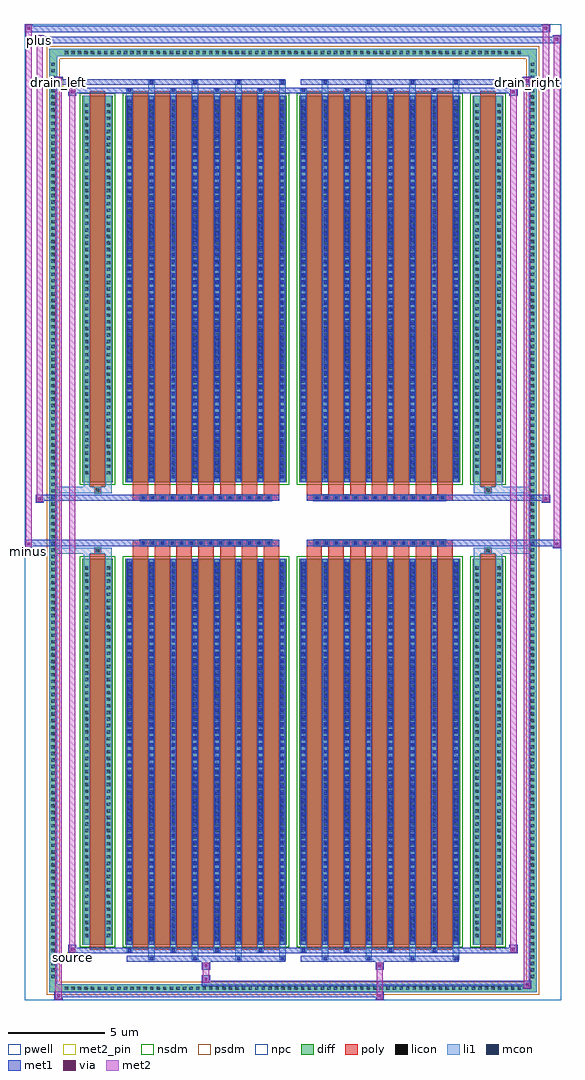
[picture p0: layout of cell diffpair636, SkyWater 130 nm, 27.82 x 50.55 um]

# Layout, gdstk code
import gdstk
lib = gdstk.Library(unit=1e-6, precision=5e-09)
def R(c, l, rs):  # rectangles x0, y0, x1, y1
    for r in rs: c.add(gdstk.rectangle(r[:2], r[2:], *l))
def A(c, l, x, y, w, h, nx, ny, dx, dy):  # array of equal rectangles
    R(c, l, [(x+i*dx, y+j*dy, x+i*dx+w, y+j*dy+h) for i in range(nx) for j in range(ny)])
def P(c, l, *ps):  # polygons
    for p in ps: c.add(gdstk.Polygon(p, *l))
pwell = (64, 44)
diff = (65, 20)
poly = (66, 20)
licon = (66, 44)
li1 = (67, 20)
mcon = (67, 44)
met1 = (68, 20)
via = (68, 44)
met2_pin = (69, 16)
met2 = (69, 20)
nsdm = (93, 44)
psdm = (94, 20)
npc = (95, 20)

diffpair636 = lib.new_cell('diffpair636')
R(diffpair636, pwell, [(-13.89,-24.84,13.89,25.71), (-11.21,-23.03,-0.01,-0.805), (0.01,-23.03,11.21,-0.805), (-11.21,0.805,-0.01,23.03), (0.01,0.805,11.21,23.03)])
A(diffpair636, diff, -11.935, -24.44, 0.41, 0.41, 70, 2, 0.34, 48.47)
A(diffpair636, diff, -12.62, -23.835, 0.41, 0.41, 1, 140, 0, 0.34)
A(diffpair636, diff, 12.21, -23.835, 0.41, 0.41, 1, 140, 0, 0.34)
R(diffpair636, diff, [(-11.935,-24.44,11.935,-24.03), (-12.62,-23.835,-12.21,23.835), (12.21,-23.835,12.62,23.835), (-10.9,-21.985,-9.32,-1.985), (-8.68,-21.985,-0.32,-1.985), (0.32,-21.985,8.68,-1.985), (9.32,-21.985,10.9,-1.985), (-10.9,1.985,-9.32,21.985), (-8.68,1.985,-0.32,21.985), (0.32,1.985,8.68,21.985), (9.32,1.985,10.9,21.985), (-11.935,24.03,11.935,24.44)])
P(diffpair636, diff, [(12.62,24.44),(-12.62,24.44),(-12.62,-24.03),(-12.21,-24.03),(-12.21,24.03),(12.21,24.03),(12.21,-24.03),(-12.21,-24.03),(-12.62,-24.03),(-12.62,-24.44),(12.62,-24.44)])
A(diffpair636, poly, -8.29, -22.235, 0.8, 20.5, 7, 2, 1.13, 23.97)
A(diffpair636, poly, 0.71, -22.235, 0.8, 20.5, 7, 2, 1.13, 23.97)
A(diffpair636, poly, -8.29, -1.735, 0.8, 0.4, 7, 2, 1.13, 3.07)
A(diffpair636, poly, 0.71, -1.735, 0.8, 0.4, 7, 2, 1.13, 3.07)
A(diffpair636, poly, -7.915, -1.335, 0.33, 0.33, 14, 2, 0.5, 2.34)
A(diffpair636, poly, 1.085, -1.335, 0.33, 0.33, 14, 2, 0.5, 2.34)
R(diffpair636, poly, [(-10.51,-22.235,-9.71,-1.735), (9.71,-22.235,10.51,-1.735), (-10.275,-1.735,-9.945,-1.405), (-10.275,-1.735,-9.945,-1.405), (9.945,-1.735,10.275,-1.405), (9.945,-1.735,10.275,-1.405), (-8.29,-1.335,-0.71,-1.005), (0.71,-1.335,8.29,-1.005), (-8.29,1.005,-0.71,1.335), (0.71,1.005,8.29,1.335), (-10.275,1.405,-9.945,1.735), (-10.275,1.405,-9.945,1.735), (9.945,1.405,10.275,1.735), (9.945,1.405,10.275,1.735), (-10.51,1.735,-9.71,22.235), (9.71,1.735,10.51,22.235)])
A(diffpair636, licon, -11.815, -24.32, 0.17, 0.17, 70, 2, 0.34, 48.47)
A(diffpair636, licon, -12.5, -23.715, 0.17, 0.17, 1, 140, 0, 0.34)
A(diffpair636, licon, 12.33, -23.715, 0.17, 0.17, 1, 140, 0, 0.34)
A(diffpair636, licon, -10.76, -21.59, 0.17, 0.17, 1, 57, 0, 0.34)
A(diffpair636, licon, -9.63, -21.59, 0.17, 0.17, 1, 57, 0, 0.34)
A(diffpair636, licon, -8.54, -21.59, 0.17, 0.17, 8, 57, 1.13, 0.34)
A(diffpair636, licon, 0.46, -21.59, 0.17, 0.17, 8, 57, 1.13, 0.34)
A(diffpair636, licon, 9.46, -21.59, 0.17, 0.17, 1, 57, 0, 0.34)
A(diffpair636, licon, 10.59, -21.59, 0.17, 0.17, 1, 57, 0, 0.34)
A(diffpair636, licon, -7.835, -1.255, 0.17, 0.17, 14, 2, 0.5, 2.34)
A(diffpair636, licon, 1.165, -1.255, 0.17, 0.17, 14, 2, 0.5, 2.34)
A(diffpair636, licon, -10.76, 2.38, 0.17, 0.17, 1, 57, 0, 0.34)
A(diffpair636, licon, -9.63, 2.38, 0.17, 0.17, 1, 57, 0, 0.34)
A(diffpair636, licon, -8.54, 2.38, 0.17, 0.17, 8, 57, 1.13, 0.34)
A(diffpair636, licon, 0.46, 2.38, 0.17, 0.17, 8, 57, 1.13, 0.34)
A(diffpair636, licon, 9.46, 2.38, 0.17, 0.17, 1, 57, 0, 0.34)
A(diffpair636, licon, 10.59, 2.38, 0.17, 0.17, 1, 57, 0, 0.34)
R(diffpair636, licon, [(-10.195,-1.655,-10.025,-1.485), (10.025,-1.655,10.195,-1.485), (-10.195,1.485,-10.025,1.655), (10.025,1.485,10.195,1.655)])
A(diffpair636, li1, -11.895, -24.4, 0.33, 0.33, 70, 2, 0.34, 48.47)
A(diffpair636, li1, -12.58, -23.795, 0.33, 0.33, 1, 140, 0, 0.34)
A(diffpair636, li1, 12.25, -23.795, 0.33, 0.33, 1, 140, 0, 0.34)
A(diffpair636, li1, -7.49, -22.79, 0.33, 0.805, 4, 2, 2.26, 44.775)
A(diffpair636, li1, -7.41, -22.79, 0.17, 0.17, 4, 2, 2.26, 45.41)
A(diffpair636, li1, 1.51, -22.79, 0.33, 0.805, 4, 2, 2.26, 44.775)
A(diffpair636, li1, 1.59, -22.79, 0.17, 0.17, 4, 2, 2.26, 45.41)
A(diffpair636, li1, -8.62, -22.36, 0.33, 0.375, 4, 2, 2.26, 44.345)
A(diffpair636, li1, -8.54, -22.36, 0.17, 0.17, 4, 2, 2.26, 44.55)
A(diffpair636, li1, 0.38, -22.36, 0.33, 0.375, 4, 2, 2.26, 44.345)
A(diffpair636, li1, 0.46, -22.36, 0.17, 0.17, 4, 2, 2.26, 44.55)
A(diffpair636, li1, -8.62, -21.985, 0.33, 20, 8, 2, 1.13, 23.97)
A(diffpair636, li1, 0.38, -21.985, 0.33, 20, 8, 2, 1.13, 23.97)
A(diffpair636, li1, -8.54, -21.79, 0.17, 0.17, 8, 55, 1.13, 0.36)
A(diffpair636, li1, -8.54, -21.79, 0.17, 19.61, 8, 2, 1.13, 23.97)
A(diffpair636, li1, 0.46, -21.79, 0.17, 0.17, 8, 55, 1.13, 0.36)
A(diffpair636, li1, 0.46, -21.79, 0.17, 19.61, 8, 2, 1.13, 23.97)
A(diffpair636, li1, -10.84, -21.67, 0.33, 0.33, 1, 57, 0, 0.34)
A(diffpair636, li1, -9.71, -21.67, 0.33, 0.33, 1, 57, 0, 0.34)
A(diffpair636, li1, -8.62, -21.67, 0.33, 0.33, 8, 57, 1.13, 0.34)
A(diffpair636, li1, 0.38, -21.67, 0.33, 0.33, 8, 57, 1.13, 0.34)
A(diffpair636, li1, 9.38, -21.67, 0.33, 0.33, 1, 57, 0, 0.34)
A(diffpair636, li1, 10.51, -21.67, 0.33, 0.33, 1, 57, 0, 0.34)
A(diffpair636, li1, -7.915, -1.335, 0.33, 0.33, 14, 2, 0.5, 2.34)
A(diffpair636, li1, 1.085, -1.335, 0.33, 0.33, 14, 2, 0.5, 2.34)
A(diffpair636, li1, -8.54, 2.18, 0.17, 0.17, 8, 55, 1.13, 0.36)
A(diffpair636, li1, 0.46, 2.18, 0.17, 0.17, 8, 55, 1.13, 0.36)
A(diffpair636, li1, -10.84, 2.3, 0.33, 0.33, 1, 57, 0, 0.34)
A(diffpair636, li1, -9.71, 2.3, 0.33, 0.33, 1, 57, 0, 0.34)
A(diffpair636, li1, -8.62, 2.3, 0.33, 0.33, 8, 57, 1.13, 0.34)
A(diffpair636, li1, 0.38, 2.3, 0.33, 0.33, 8, 57, 1.13, 0.34)
A(diffpair636, li1, 9.38, 2.3, 0.33, 0.33, 1, 57, 0, 0.34)
A(diffpair636, li1, 10.51, 2.3, 0.33, 0.33, 1, 57, 0, 0.34)
R(diffpair636, li1, [(-12.62,-24.44,-12.21,-24.03), (-12.62,-24.44,-12.21,-24.03), (-12.21,-24.44,12.21,-24.03), (12.21,-24.44,12.62,-24.03), (12.21,-24.44,12.62,-24.03), (-12.62,-24.03,-12.21,24.03), (12.21,-24.03,12.62,24.03), (-10.84,-21.985,-10.51,-1.985), (-9.71,-21.985,-9.38,-1.985), (9.38,-21.985,9.71,-1.985), (10.51,-21.985,10.84,-1.985), (-10.84,-1.985,-10.51,-1.405), (-9.71,-1.985,-9.38,-1.405), (9.38,-1.985,9.71,-1.405), (10.51,-1.985,10.84,-1.405), (-12.62,-1.735,-10.275,-1.405), (-10.84,-1.735,-10.275,-1.405), (-10.275,-1.735,-9.945,-1.405), (-9.945,-1.735,-9.38,-1.405), (9.38,-1.735,9.945,-1.405), (9.945,-1.735,10.275,-1.405), (9.945,-1.735,12.62,-1.405), (10.275,-1.735,10.84,-1.405), (-12.62,1.405,-10.275,1.735), (-10.84,1.405,-10.275,1.735), (-10.84,1.405,-10.51,1.985), (-10.275,1.405,-9.945,1.735), (-9.945,1.405,-9.38,1.735), (-9.71,1.405,-9.38,1.985), (9.38,1.405,9.945,1.735), (9.38,1.405,9.71,1.985), (9.945,1.405,10.275,1.735), (9.945,1.405,12.62,1.735), (10.275,1.405,10.84,1.735), (10.51,1.405,10.84,1.985), (-10.84,1.985,-10.51,21.985), (-9.71,1.985,-9.38,21.985), (9.38,1.985,9.71,21.985), (10.51,1.985,10.84,21.985), (-12.62,24.03,-12.21,24.44), (-12.62,24.03,-12.21,24.44), (-12.21,24.03,12.21,24.44), (12.21,24.03,12.62,24.44), (12.21,24.03,12.62,24.44)])
A(diffpair636, mcon, -7.41, -22.79, 0.17, 0.17, 4, 2, 2.26, 45.41)
A(diffpair636, mcon, 1.59, -22.79, 0.17, 0.17, 4, 2, 2.26, 45.41)
A(diffpair636, mcon, -8.54, -22.36, 0.17, 0.17, 4, 2, 2.26, 44.55)
A(diffpair636, mcon, 0.46, -22.36, 0.17, 0.17, 4, 2, 2.26, 44.55)
A(diffpair636, mcon, -8.54, -21.79, 0.17, 0.17, 8, 55, 1.13, 0.36)
A(diffpair636, mcon, 0.46, -21.79, 0.17, 0.17, 8, 55, 1.13, 0.36)
A(diffpair636, mcon, -7.835, -1.255, 0.17, 0.17, 14, 2, 0.5, 2.34)
A(diffpair636, mcon, 1.165, -1.255, 0.17, 0.17, 14, 2, 0.5, 2.34)
A(diffpair636, mcon, -8.54, 2.18, 0.17, 0.17, 8, 55, 1.13, 0.36)
A(diffpair636, mcon, 0.46, 2.18, 0.17, 0.17, 8, 55, 1.13, 0.36)
A(diffpair636, met1, -7.47, -22.85, 0.29, 0.29, 4, 2, 2.26, 45.41)
A(diffpair636, met1, 1.53, -22.85, 0.29, 0.29, 4, 2, 2.26, 45.41)
A(diffpair636, met1, -8.6, -22.42, 0.29, 0.29, 4, 2, 2.26, 44.55)
A(diffpair636, met1, 0.4, -22.42, 0.29, 0.29, 4, 2, 2.26, 44.55)
A(diffpair636, met1, -8.6, -21.985, 0.29, 20, 8, 2, 1.13, 23.97)
A(diffpair636, met1, 0.4, -21.985, 0.29, 20, 8, 2, 1.13, 23.97)
A(diffpair636, met1, -8.6, -21.85, 0.29, 0.29, 8, 55, 1.13, 0.36)
A(diffpair636, met1, 0.4, -21.85, 0.29, 0.29, 8, 55, 1.13, 0.36)
A(diffpair636, met1, -7.895, -1.315, 0.29, 0.29, 14, 2, 0.5, 2.34)
A(diffpair636, met1, 1.105, -1.315, 0.29, 0.29, 14, 2, 0.5, 2.34)
A(diffpair636, met1, -8.6, 2.12, 0.29, 0.29, 8, 55, 1.13, 0.36)
A(diffpair636, met1, 0.4, 2.12, 0.29, 0.29, 8, 55, 1.13, 0.36)
R(diffpair636, met1, [(-12.35,-24.84,-11.92,-24.41), (4.285,-24.84,4.715,-24.41), (-12.35,-24.7,4.715,-24.41), (11.92,-24.27,12.35,-23.84), (-4.715,-24.13,12.35,-23.84), (-4.715,-23.99,-4.285,-23.56), (-4.715,-23.28,-4.285,-22.85), (4.285,-23.28,4.715,-22.85), (-8.6,-22.85,-0.4,-22.56), (0.4,-22.85,8.6,-22.56), (-11.64,-22.42,-11.21,-21.99), (-11.64,-22.42,-8.6,-22.13), (-8.6,-22.42,-0.4,-22.13), (-0.4,-22.42,0.4,-22.13), (0.4,-22.42,8.6,-22.13), (8.6,-22.42,11.64,-22.13), (11.21,-22.42,11.64,-21.99), (-13.89,-1.435,-13.46,-1.005), (13.46,-1.435,13.89,-1.005), (-13.89,-1.335,-0.71,-1.005), (-8.29,-1.335,-0.71,-1.005), (0.71,-1.335,8.29,-1.005), (0.71,-1.335,13.89,-1.005), (-13.32,0.905,-12.89,1.335), (12.89,0.905,13.32,1.335), (-13.32,1.005,-8.29,1.335), (-8.29,1.005,-0.71,1.335), (0.71,1.005,8.29,1.335), (8.29,1.005,13.32,1.335), (-11.64,21.99,-11.21,22.42), (11.21,21.99,11.64,22.42), (-11.64,22.13,-8.6,22.42), (-8.6,22.13,-0.4,22.42), (-0.4,22.13,0.4,22.42), (0.4,22.13,8.6,22.42), (8.6,22.13,11.64,22.42), (-12.35,22.56,-11.92,22.99), (-12.35,22.56,-8.6,22.85), (-8.6,22.56,-0.4,22.85), (0.4,22.56,8.6,22.85), (8.6,22.56,12.35,22.85), (11.92,22.56,12.35,22.99), (-13.32,24.71,-12.89,25.14), (-13.32,24.71,-11.21,25.04), (-11.21,24.71,11.21,25.04), (11.21,24.71,13.89,25.04), (13.46,24.71,13.89,25.14), (-13.89,25.28,-13.46,25.71), (-13.89,25.28,-11.21,25.61), (-11.21,25.28,11.21,25.61), (11.21,25.28,13.32,25.61), (12.89,25.28,13.32,25.71)])
R(diffpair636, via, [(-12.21,-24.7,-12.06,-24.55), (4.425,-24.7,4.575,-24.55), (12.06,-24.13,12.21,-23.98), (-4.575,-23.85,-4.425,-23.7), (-4.575,-23.14,-4.425,-22.99), (4.425,-23.14,4.575,-22.99), (-11.5,-22.28,-11.35,-22.13), (11.35,-22.28,11.5,-22.13), (-13.75,-1.295,-13.6,-1.145), (13.6,-1.295,13.75,-1.145), (-13.18,1.045,-13.03,1.195), (13.03,1.045,13.18,1.195), (-11.5,22.13,-11.35,22.28), (11.35,22.13,11.5,22.28), (-12.21,22.7,-12.06,22.85), (12.06,22.7,12.21,22.85), (-13.18,24.85,-13.03,25), (13.6,24.85,13.75,25), (-13.75,25.42,-13.6,25.57), (13.03,25.42,13.18,25.57)])
R(diffpair636, met2_pin, [(-11.675,-22.87,-11.175,-22.37), (-13.925,-1.885,-13.425,-1.385), (-12.385,22.44,-11.885,22.94), (11.885,22.44,12.385,22.94), (-13.355,24.59,-12.855,25.09)])
R(diffpair636, met2, [(-12.3,-24.79,-11.97,-24.46), (-12.3,-24.79,-11.97,22.94), (4.335,-24.79,4.665,-24.46), (4.335,-24.46,4.665,-23.23), (11.97,-24.22,12.3,-23.89), (11.97,-24.22,12.3,22.94), (-4.665,-23.94,-4.335,-23.61), (-4.665,-23.61,-4.335,-23.23), (-4.665,-23.23,-4.335,-22.9), (4.335,-23.23,4.665,-22.9), (-11.59,-22.37,-11.26,-22.04), (-11.59,-22.37,-11.26,22.37), (11.26,-22.37,11.59,-22.04), (11.26,-22.37,11.59,22.37), (-13.84,-1.385,-13.51,-1.055), (-13.84,-1.385,-13.51,25.66), (13.51,-1.385,13.84,-1.055), (13.51,-1.385,13.84,25.09), (-13.27,0.955,-12.94,1.285), (-13.27,0.955,-12.94,25.09), (12.94,0.955,13.27,1.285), (12.94,0.955,13.27,25.66), (-11.59,22.04,-11.26,22.37), (11.26,22.04,11.59,22.37), (-12.3,22.61,-11.97,22.94), (11.97,22.61,12.3,22.94), (-13.27,24.76,-12.94,25.09), (13.51,24.76,13.84,25.09), (-13.84,25.33,-13.51,25.66), (12.94,25.33,13.27,25.66)])
P(diffpair636, met2, [(13.84,-1.385),(13.84,-1.385),(13.84,-1.055),(13.84,-1.055)],
  [(13.84,24.76),(13.84,24.76),(13.84,25.09),(13.84,25.09)],
  [(-13.51,-1.385),(-13.51,-1.385),(-13.51,-1.055),(-13.51,-1.055)],
  [(-13.51,25.33),(-13.51,25.33),(-13.51,25.66),(-13.51,25.66)],
  [(13.27,0.955),(13.27,0.955),(13.27,1.285),(13.27,1.285)],
  [(13.27,25.33),(13.27,25.33),(13.27,25.66),(13.27,25.66)],
  [(-12.94,0.955),(-12.94,0.955),(-12.94,1.285),(-12.94,1.285)],
  [(-12.94,24.76),(-12.94,24.76),(-12.94,25.09),(-12.94,25.09)],
  [(-11.97,-24.79),(-11.97,-24.79),(-11.97,-24.46),(-11.97,-24.46)],
  [(-11.97,22.61),(-11.97,22.61),(-11.97,22.94),(-11.97,22.94)],
  [(12.3,-24.22),(12.3,-24.22),(12.3,-23.89),(12.3,-23.89)],
  [(12.3,22.61),(12.3,22.61),(12.3,22.94),(12.3,22.94)],
  [(-11.26,-22.37),(-11.26,-22.37),(-11.26,-22.04),(-11.26,-22.04)],
  [(-11.26,22.04),(-11.26,22.04),(-11.26,22.37),(-11.26,22.37)],
  [(11.59,-22.37),(11.59,-22.37),(11.59,-22.04),(11.59,-22.04)],
  [(11.59,22.04),(11.59,22.04),(11.59,22.37),(11.59,22.37)])
R(diffpair636, nsdm, [(-11.03,-22.115,-9.19,-1.855), (-8.81,-22.115,-0.19,-1.855), (0.19,-22.115,8.81,-1.855), (9.19,-22.115,11.03,-1.855), (-11.03,1.855,-9.19,22.115), (-8.81,1.855,-0.19,22.115), (0.19,1.855,8.81,22.115), (9.19,1.855,11.03,22.115)])
P(diffpair636, psdm, [(12.75,24.57),(-12.75,24.57),(-12.75,-23.9),(-12.08,-23.9),(-12.08,23.9),(12.08,23.9),(12.08,-23.9),(-12.08,-23.9),(-12.75,-23.9),(-12.75,-24.57),(12.75,-24.57)])
A(diffpair636, npc, -7.935, -1.355, 0.37, 0.37, 14, 2, 0.5, 2.34)
A(diffpair636, npc, 1.065, -1.355, 0.37, 0.37, 14, 2, 0.5, 2.34)
R(diffpair636, npc, [(-10.295,-1.755,-9.925,-1.385), (9.925,-1.755,10.295,-1.385), (-7.935,-1.355,-7.065,-0.985), (-7.935,-1.355,-7.065,-0.985), (-7.435,-1.355,-6.565,-0.985), (-7.435,-1.355,-6.565,-0.985), (-6.935,-1.355,-6.065,-0.985), (-6.935,-1.355,-6.065,-0.985), (-6.435,-1.355,-5.565,-0.985), (-6.435,-1.355,-5.565,-0.985), (-5.935,-1.355,-5.065,-0.985), (-5.935,-1.355,-5.065,-0.985), (-5.435,-1.355,-4.565,-0.985), (-5.435,-1.355,-4.565,-0.985), (-4.935,-1.355,-4.065,-0.985), (-4.935,-1.355,-4.065,-0.985), (-4.435,-1.355,-3.565,-0.985), (-4.435,-1.355,-3.565,-0.985), (-3.935,-1.355,-3.065,-0.985), (-3.935,-1.355,-3.065,-0.985), (-3.435,-1.355,-2.565,-0.985), (-3.435,-1.355,-2.565,-0.985), (-2.935,-1.355,-2.065,-0.985), (-2.935,-1.355,-2.065,-0.985), (-2.435,-1.355,-1.565,-0.985), (-2.435,-1.355,-1.565,-0.985), (-1.935,-1.355,-1.065,-0.985), (-1.935,-1.355,-1.065,-0.985), (1.065,-1.355,1.935,-0.985), (1.065,-1.355,1.935,-0.985), (1.565,-1.355,2.435,-0.985), (1.565,-1.355,2.435,-0.985), (2.065,-1.355,2.935,-0.985), (2.065,-1.355,2.935,-0.985), (2.565,-1.355,3.435,-0.985), (2.565,-1.355,3.435,-0.985), (3.065,-1.355,3.935,-0.985), (3.065,-1.355,3.935,-0.985), (3.565,-1.355,4.435,-0.985), (3.565,-1.355,4.435,-0.985), (4.065,-1.355,4.935,-0.985), (4.065,-1.355,4.935,-0.985), (4.565,-1.355,5.435,-0.985), (4.565,-1.355,5.435,-0.985), (5.065,-1.355,5.935,-0.985), (5.065,-1.355,5.935,-0.985), (5.565,-1.355,6.435,-0.985), (5.565,-1.355,6.435,-0.985), (6.065,-1.355,6.935,-0.985), (6.065,-1.355,6.935,-0.985), (6.565,-1.355,7.435,-0.985), (6.565,-1.355,7.435,-0.985), (7.065,-1.355,7.935,-0.985), (7.065,-1.355,7.935,-0.985), (-7.935,0.985,-7.065,1.355), (-7.935,0.985,-7.065,1.355), (-7.435,0.985,-6.565,1.355), (-7.435,0.985,-6.565,1.355), (-6.935,0.985,-6.065,1.355), (-6.935,0.985,-6.065,1.355), (-6.435,0.985,-5.565,1.355), (-6.435,0.985,-5.565,1.355), (-5.935,0.985,-5.065,1.355), (-5.935,0.985,-5.065,1.355), (-5.435,0.985,-4.565,1.355), (-5.435,0.985,-4.565,1.355), (-4.935,0.985,-4.065,1.355), (-4.935,0.985,-4.065,1.355), (-4.435,0.985,-3.565,1.355), (-4.435,0.985,-3.565,1.355), (-3.935,0.985,-3.065,1.355), (-3.935,0.985,-3.065,1.355), (-3.435,0.985,-2.565,1.355), (-3.435,0.985,-2.565,1.355), (-2.935,0.985,-2.065,1.355), (-2.935,0.985,-2.065,1.355), (-2.435,0.985,-1.565,1.355), (-2.435,0.985,-1.565,1.355), (-1.935,0.985,-1.065,1.355), (-1.935,0.985,-1.065,1.355), (1.065,0.985,1.935,1.355), (1.065,0.985,1.935,1.355), (1.565,0.985,2.435,1.355), (1.565,0.985,2.435,1.355), (2.065,0.985,2.935,1.355), (2.065,0.985,2.935,1.355), (2.565,0.985,3.435,1.355), (2.565,0.985,3.435,1.355), (3.065,0.985,3.935,1.355), (3.065,0.985,3.935,1.355), (3.565,0.985,4.435,1.355), (3.565,0.985,4.435,1.355), (4.065,0.985,4.935,1.355), (4.065,0.985,4.935,1.355), (4.565,0.985,5.435,1.355), (4.565,0.985,5.435,1.355), (5.065,0.985,5.935,1.355), (5.065,0.985,5.935,1.355), (5.565,0.985,6.435,1.355), (5.565,0.985,6.435,1.355), (6.065,0.985,6.935,1.355), (6.065,0.985,6.935,1.355), (6.565,0.985,7.435,1.355), (6.565,0.985,7.435,1.355), (7.065,0.985,7.935,1.355), (7.065,0.985,7.935,1.355), (-10.295,1.385,-9.925,1.755), (9.925,1.385,10.295,1.755)])
diffpair636.add(gdstk.Label('minus', (-13.675,-1.635), layer=69, texttype=5))
diffpair636.add(gdstk.Label('drain_right', (12.135,22.69), layer=69, texttype=5))
diffpair636.add(gdstk.Label('drain_left', (-12.135,22.69), layer=69, texttype=5))
diffpair636.add(gdstk.Label('source', (-11.425,-22.62), layer=69, texttype=5))
diffpair636.add(gdstk.Label('plus', (-13.105,24.84), layer=69, texttype=5))

lib.write_gds('diffpair636.gds')
